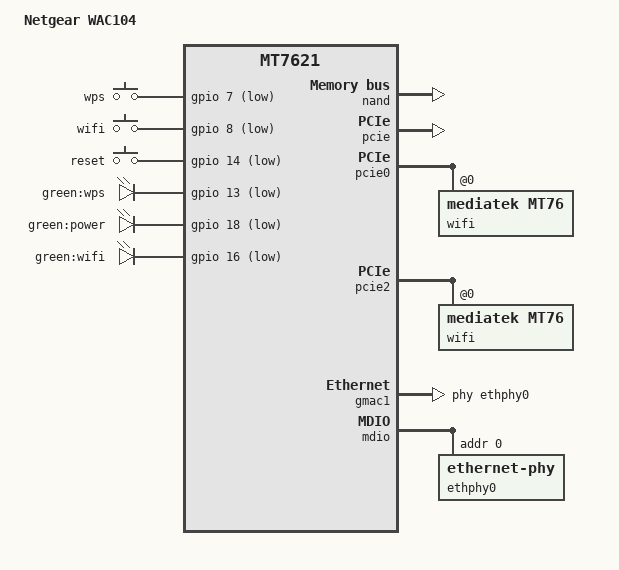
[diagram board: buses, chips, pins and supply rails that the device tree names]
// SPDX-License-Identifier: GPL-2.0-only or MIT

#include "mt7621.dtsi"

#include <dt-bindings/gpio/gpio.h>
#include <dt-bindings/input/input.h>

/ {
	compatible = "netgear,wac104", "mediatek,mt7621-soc";
	model = "Netgear WAC104";

	aliases {
		led-boot = &led_power;
		led-failsafe = &led_power;
		led-running = &led_power;
		led-upgrade = &led_power;
		label-mac-device = &gmac0;
	};

	keys {
		compatible = "gpio-keys";

		wps {
			label = "wps";
			gpios = <&gpio 7 GPIO_ACTIVE_LOW>;
			linux,code = <KEY_WPS_BUTTON>;
		};

		wifi {
			label = "wifi";
			gpios = <&gpio 8 GPIO_ACTIVE_LOW>;
			linux,code = <KEY_RFKILL>;
		};

		reset {
			label = "reset";
			gpios = <&gpio 14 GPIO_ACTIVE_LOW>;
			linux,code = <KEY_RESTART>;
		};
	};

	leds {
		compatible = "gpio-leds";

		wps {
			label = "green:wps";
			gpios = <&gpio 13 GPIO_ACTIVE_LOW>;
		};

		led_power: power {
			label = "green:power";
			gpios = <&gpio 18 GPIO_ACTIVE_LOW>;
		};

		wifi {
			label = "green:wifi";
			gpios = <&gpio 16 GPIO_ACTIVE_LOW>;
			linux,default-trigger = "phy0tpt";
		};
	};
};

&gmac0 {
	nvmem-cells = <&macaddr_factory_4>;
	nvmem-cell-names = "mac-address";
};

&nand {
	status = "okay";

	partitions {
		compatible = "fixed-partitions";
		#address-cells = <1>;
		#size-cells = <1>;

		partition@0 {
			label = "u-boot";
			reg = <0x0 0x100000>;
			read-only;
		};

		partition@100000 {
			label = "SC PID";
			reg = <0x100000 0x100000>;
			read-only;
		};

		partition@200000 {
			label = "kernel";
			reg = <0x200000 0x400000>;
		};

		partition@600000 {
			label = "ubi";
			reg = <0x600000 0x1c00000>;
		};

		factory: partition@2e00000 {
			label = "factory";
			reg = <0x2e00000 0x100000>;
			read-only;
		};

		partition@4200000 {
			label = "reserved";
			reg = <0x4200000 0x3c00000>;
			read-only;
		};
	};
};

&pcie {
	status = "okay";
};

&pcie0 {
	wifi@0,0 {
		compatible = "mediatek,mt76";
		reg = <0x0 0 0 0 0>;
		mediatek,mtd-eeprom = <&factory 0x8000>;
		ieee80211-freq-limit = <5000000 6000000>;
	};
};

&pcie2 {
	wifi@0,0 {
		compatible = "mediatek,mt76";
		reg = <0x0 0 0 0 0>;
		mediatek,mtd-eeprom = <&factory 0x0>;
		ieee80211-freq-limit = <2400000 2500000>;
	};
};

&state_default {
	gpio {
		groups = "uart3", "jtag", "wdt";
		function = "gpio";
	};
};

&gmac1 {
	status = "okay";
	label = "lan4";
	phy-handle = <&ethphy0>;

	nvmem-cells = <&macaddr_factory_4>;
	nvmem-cell-names = "mac-address";
};

&mdio {
	ethphy0: ethernet-phy@0 {
		reg = <0>;
	};
};

&switch0 {
	ports {
		port@1 {
			status = "okay";
			label = "lan3";
		};

		port@2 {
			status = "okay";
			label = "lan2";
		};

		port@3 {
			status = "okay";
			label = "lan1";
		};
	};
};

&xhci {
	status = "disabled";
};

&factory {
	compatible = "nvmem-cells";
	#address-cells = <1>;
	#size-cells = <1>;

	macaddr_factory_4: macaddr@4 {
		reg = <0x4 0x6>;
	};
};
